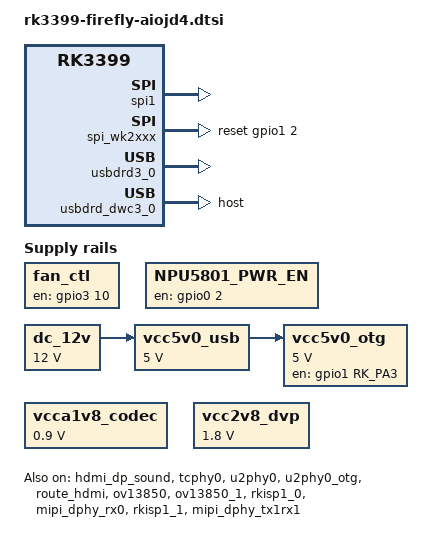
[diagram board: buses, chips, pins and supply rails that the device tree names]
/dts-v1/;

#include "rk3399-firefly-port.dtsi"
#include <dt-bindings/sensor-dev.h>
#include <dt-bindings/display/media-bus-format.h>

/ {
	test-power {
		status = "okay";
	};

	rt5640-sound {
		simple-audio-card,cpu {
		        sound-dai = <&i2s1>;
		};
		simple-audio-card,codec {
		        sound-dai = <&rt5640>;
		};
	};

	fan_ctl: fan-ctl-regulator {
		compatible = "regulator-fixed";
		enable-active-high;
		regulator-always-on;
		regulator-boot-on;
		gpio = <&gpio3 10 GPIO_ACTIVE_HIGH>;
		pinctrl-names = "default";
		regulator-name = "fan_ctl";
		pinctrl-0 = <&fan_drv>;
	};

	NPU5801_PWR_EN: HUB20-PWR-EN {
		compatible = "regulator-fixed";
		enable-active-high;
		regulator-always-on;
		regulator-boot-on;
		gpio = <&gpio0 2 GPIO_ACTIVE_HIGH>;
		pinctrl-names = "default";
		pinctrl-0 = <&npu5801_pwr_en>;
		regulator-name = "vcc5v0_5801_en";
		status = "okay";
	};

	// vcc5v0_typec0_en: vcc5v0-typec0-en-regulator {
	// 	compatible = "regulator-fixed";
	// 	enable-active-high;
	// 	gpio = <&gpio1 3 GPIO_ACTIVE_HIGH>;
	// 	pinctrl-names = "default";
	// 	pinctrl-0 = <&vcc5v0_typec0_en_drv>;
	// 	regulator-name = "vcc5v0_typec0_en";
	// 	regulator-always-on;
	// };

	dc_12v: dc-12v {
        compatible = "regulator-fixed";
        regulator-name = "dc_12v";
        regulator-always-on;
        regulator-boot-on;
        regulator-min-microvolt = <12000000>;
        regulator-max-microvolt = <12000000>;
    };

	vcc5v0_usb: vcc5v0-usb {
        compatible = "regulator-fixed";
        regulator-name = "vcc5v0_usb";
        regulator-always-on;
        regulator-boot-on;
        regulator-min-microvolt = <5000000>;
        regulator-max-microvolt = <5000000>;
        vin-supply = <&dc_12v>;
    };

	vcc5v0_otg: vcc5v0-otg-regulator {
        compatible = "regulator-fixed";
        regulator-name = "vcc5v0_otg";
        regulator-min-microvolt = <5000000>;
        regulator-max-microvolt = <5000000>;
        enable-active-high;
        gpio = <&gpio1 RK_PA3 GPIO_ACTIVE_HIGH>;
        vin-supply = <&vcc5v0_usb>;
        pinctrl-names = "default";
        pinctrl-0 = <&vcc5v0_otg_en>;
    };
};

&gmac {
	tx_delay = <0x2F>;
	rx_delay = <0x1E>;
};


&vcc_sd_h {
	rockchip,pins = <1 22 RK_FUNC_GPIO &pcfg_pull_up>;
};

&vcc_sd {
	gpio = <&gpio1 22 GPIO_ACTIVE_HIGH>;
};

&hdmi_dp_sound {
	status = "okay";
};

&i2c2 {
	status = "disabled";
	i2c-scl-rising-time-ns = <300>;
	i2c-scl-falling-time-ns = <15>;

	sensor@4c {
		status = "disabled";
		compatible = "gs_mc3230";
		reg = <0x4c>;
		type = <SENSOR_TYPE_ACCEL>;
		irq_enable = <0>;
		poll_delay_ms = <30>;
		layout = <1>;
	};
};

&rt5640 {
    hp-det-adc-value = <900>;
    aux-det-adc-value = <900>;
    hp-con-gpio = <&gpio3 16 GPIO_ACTIVE_HIGH>;
    io-channels = <&saradc 3>,<&saradc 2>;
    io-channel-names = "hp-det","aux-det";
};

&rt5640_hpcon{
    rockchip,pins = <3 16 RK_FUNC_GPIO &pcfg_pull_none>;
};

&vcca1v8_codec {
	regulator-min-microvolt = <900000>;
	regulator-max-microvolt = <900000>;
};

&spi1 {
	dev-port = <0>;
	status = "okay";
};

&spi_wk2xxx {
    status = "okay";
	reset-gpio = <&gpio1 2 GPIO_ACTIVE_HIGH>;
	irq-gpio = <&gpio2 8 IRQ_TYPE_EDGE_FALLING>;
	cs-gpio = <&gpio1 10 GPIO_ACTIVE_HIGH>;
};

&vcc3v3_3g {
	gpio = <&gpio2 28 GPIO_ACTIVE_HIGH>;
};

&vcc3v3_pcie {
	/delete-property/ gpio;
};

&pcie0 {
	ep-gpios = <&gpio4 30 GPIO_ACTIVE_HIGH>;
};

&uart4 {
    status = "disabled";
};

&dp_in_vopb {
	status = "disabled";
};

&hdmi_in_vopl {
	status = "disabled";
};

&io_domains {
	bt656-supply = <&vcc_3v0>;
};

&vcc2v8_dvp {
	regulator-min-microvolt = <1800000>;
	regulator-max-microvolt = <1800000>;
};

&vcca1v8_codec {
	regulator-min-microvolt = <900000>;
	regulator-max-microvolt = <900000>;
};

&fusb0 {
    status = "disabled";
};

&cdn_dp {
    status = "disabled";
};

&tcphy0 {
    /delete-property/ extcon;
    status = "okay";
};

&u2phy0 {
    status = "okay";
    /delete-property/ extcon;
};

&u2phy0_otg {
    vbus-supply = <&vcc5v0_otg>;
    status = "okay";
};

&usbdrd3_0 {
    status = "okay";
    /delete-property/ extcon;
};

&usbdrd_dwc3_0 {
    dr_mode = "host";
};

&route_hdmi {
	status = "okay";
};

&rk808 {
     /delete-property/ pmic,stby-gpio;
     /delete-property/ pmic,hold-gpio;
};

&vcc_mipi {
	status = "okay";
};

&dvdd_1v2 {
	status = "okay";
};

&ov13850 {
	pwdn-gpios = <&gpio2 1 GPIO_ACTIVE_HIGH>;
	status = "okay";
};

&ov13850_1 {
	pwdn-gpios = <&gpio2 0 GPIO_ACTIVE_HIGH>;
	status = "okay";
};

&rkisp1_0 {
	status = "okay";
};

&mipi_dphy_rx0 {
	status = "okay";
};

&isp0_mmu {
	status = "okay";
};

&rkisp1_1 {
	status = "okay";
};

&mipi_dphy_tx1rx1 {
	status = "okay";
};

&isp1_mmu {
	status = "okay";
};


&pinctrl {

	// usb2_en {
	// 	vcc5v0_typec0_en_drv: vcc5v0-typec0-en {
	// 		rockchip,pins =
	// 			<1 3 RK_FUNC_GPIO &pcfg_pull_up>;
	// 	};
	// };

	npu_pwr_en {
		// control VCC5V0_HOST3
		npu5801_pwr_en: npu5801-pwr-en {
			rockchip,pins =
				<0 2 RK_FUNC_GPIO &pcfg_pull_up>;
		};
	};

	host-hub-vcc {
		host_hub_vcc: host-hub-vcc {
			rockchip,pins =
				<2 4 RK_FUNC_GPIO &pcfg_output_high>,
				<4 29 RK_FUNC_GPIO &pcfg_output_high>;
		};
	};

	pcie {
		pcie_3g_drv: pcie-3g-drv {
			rockchip,pins =
				<2 6 RK_FUNC_GPIO &pcfg_pull_up>;
		};
	};

	vcc_sd {
		vcc_sd_h: vcc-sd-h {
			rockchip,pins =
				<1 22 RK_FUNC_GPIO &pcfg_pull_up>;
		};
	};

	fan-ctl {
		fan_drv: fan-drv {
			rockchip,pins = <3 10 RK_FUNC_GPIO &pcfg_pull_none>;
		};
	};
};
